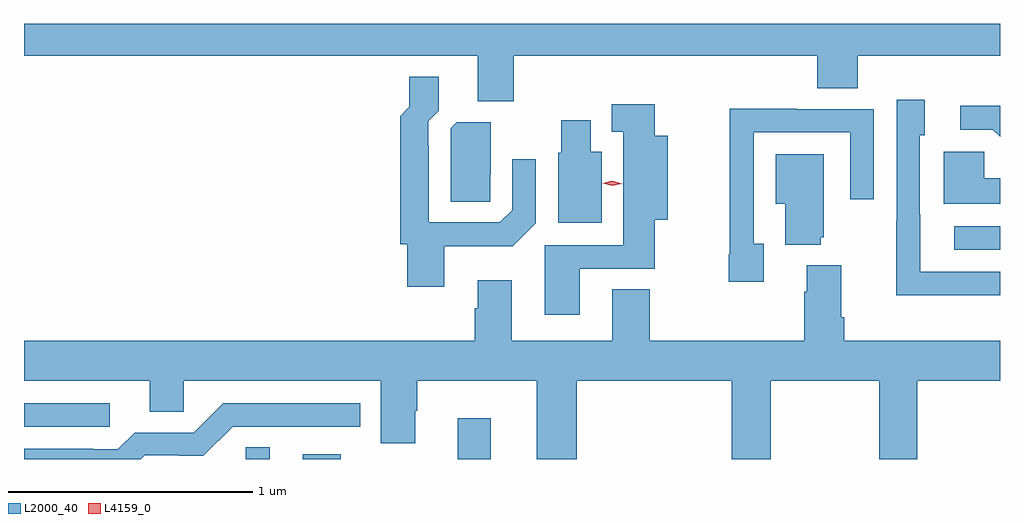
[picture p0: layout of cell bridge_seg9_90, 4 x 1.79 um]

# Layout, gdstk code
import gdstk
lib = gdstk.Library(unit=1e-6, precision=1e-09)
def R(c, l, rs):  # rectangles x0, y0, x1, y1
    for r in rs: c.add(gdstk.rectangle(r[:2], r[2:], *l))
def P(c, l, *ps):  # polygons
    for p in ps: c.add(gdstk.Polygon(p, *l))
L2000_40 = (2000, 40)
L4159_0 = (4159, 0)

bridge_seg9_90 = lib.new_cell('bridge_seg9_90')
R(bridge_seg9_90, L2000_40, [(799.179,1246.714,799.277,1246.763), (799.413,1246.714,799.569,1246.735), (800.048,1246.714,800.182,1246.882), (798.27,1246.848,798.622,1246.944), (802.083,1247.574,802.27,1247.67)])
P(bridge_seg9_90, L2000_40, [(798.27,1248.368),(800.129,1248.368),(800.129,1248.181),(800.277,1248.181),(800.277,1248.368),(801.521,1248.368),(801.521,1248.235),(801.686,1248.235),(801.686,1248.368),(802.27,1248.368),(802.27,1248.5),(798.27,1248.5)],
  [(799.993,1247.588),(800.273,1247.588),(800.367,1247.682),(800.367,1247.944),(800.271,1247.944),(800.271,1247.736),(800.22,1247.685),(799.929,1247.685),(799.929,1247.999),(799.926,1247.999),(799.926,1248.099),(799.969,1248.142),(799.969,1248.283),(799.849,1248.283),(799.849,1248.159),(799.811,1248.12),(799.811,1247.938),(799.813,1247.938),(799.813,1247.595),(799.841,1247.595),(799.841,1247.421),(799.993,1247.421)],
  [(802.27,1247.484),(801.943,1247.484),(801.943,1247.717),(801.942,1247.717),(801.942,1248.042),(801.961,1248.042),(801.961,1248.187),(801.846,1248.187),(801.846,1247.693),(801.844,1247.693),(801.844,1247.387),(802.27,1247.387)],
  [(800.548,1247.496),(800.856,1247.496),(800.856,1247.696),(800.908,1247.696),(800.908,1248.04),(800.856,1248.04),(800.856,1248.169),(800.678,1248.169),(800.678,1248.056),(800.726,1248.056),(800.726,1247.592),(800.405,1247.592),(800.405,1247.307),(800.548,1247.307)],
  [(802.27,1248.164),(802.107,1248.164),(802.107,1248.066),(802.241,1248.066),(802.27,1248.037)],
  [(801.301,1247.598),(801.261,1247.598),(801.261,1248.054),(801.657,1248.054),(801.657,1247.781),(801.753,1247.781),(801.753,1248.15),(801.437,1248.15),(801.437,1248.152),(801.163,1248.152),(801.163,1247.554),(801.158,1247.554),(801.158,1247.442),(801.301,1247.442)],
  [(800.638,1247.974),(800.593,1247.974),(800.593,1248.103),(800.471,1248.103),(800.471,1247.97),(800.459,1247.97),(800.459,1247.684),(800.638,1247.684)],
  [(800.181,1247.881),(800.182,1247.881),(800.182,1248.096),(800.043,1248.096),(800.019,1248.072),(800.019,1247.77),(800.181,1247.77)],
  [(802.27,1247.866),(802.206,1247.866),(802.206,1247.974),(802.04,1247.974),(802.04,1247.762),(802.27,1247.762)],
  [(801.536,1247.625),(801.547,1247.625),(801.547,1247.965),(801.35,1247.965),(801.35,1247.762),(801.389,1247.762),(801.389,1247.594),(801.536,1247.594)],
  [(800.536,1247.036),(801.17,1247.036),(801.17,1246.714),(801.33,1246.714),(801.33,1247.036),(801.775,1247.036),(801.775,1246.714),(801.93,1246.714),(801.93,1247.036),(802.27,1247.036),(802.27,1247.2),(801.632,1247.2),(801.632,1247.296),(801.619,1247.296),(801.619,1247.509),(801.479,1247.509),(801.479,1247.402),(801.467,1247.402),(801.467,1247.2),(800.834,1247.2),(800.834,1247.411),(800.681,1247.411),(800.681,1247.2),(800.269,1247.2),(800.269,1247.449),(800.129,1247.449),(800.129,1247.333),(800.117,1247.333),(800.117,1247.2),(798.27,1247.2),(798.27,1247.036),(798.785,1247.036),(798.785,1246.909),(798.924,1246.909),(798.924,1247.036),(799.733,1247.036),(799.733,1246.78),(799.873,1246.78),(799.873,1246.914),(799.881,1246.914),(799.881,1247.036),(800.372,1247.036),(800.372,1246.714),(800.536,1246.714)],
  [(798.765,1246.731),(798.904,1246.731),(798.904,1246.728),(799.005,1246.728),(799.125,1246.848),(799.648,1246.848),(799.648,1246.944),(799.086,1246.944),(798.966,1246.824),(798.723,1246.824),(798.654,1246.755),(798.554,1246.755),(798.554,1246.758),(798.27,1246.758),(798.27,1246.714),(798.748,1246.714)])
P(bridge_seg9_90, L4159_0, [(800.681,1247.835),(800.642,1247.845),(800.642,1247.846),(800.642,1247.846),(800.681,1247.855),(800.72,1247.844),(800.721,1247.844),(800.72,1247.844)])

lib.write_gds('bridge_seg9_90.gds')
